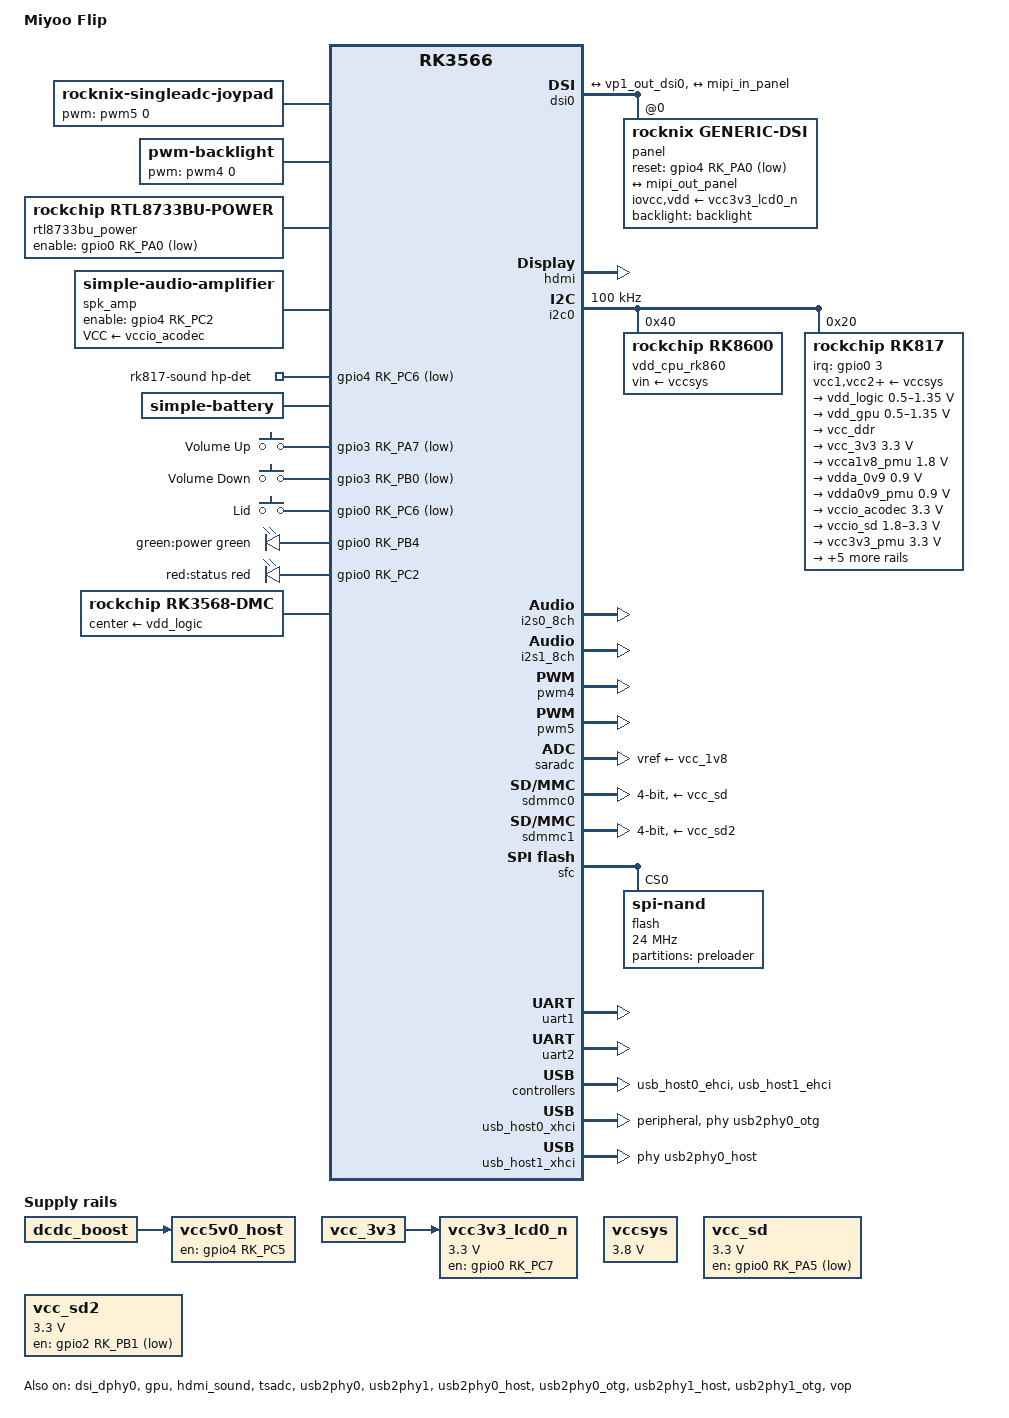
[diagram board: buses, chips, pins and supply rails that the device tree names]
// SPDX-License-Identifier: (GPL-2.0+ OR MIT)
/*
 * Copyright (c) 2020 Rockchip Electronics Co., Ltd.
 * Miyoo Flip (codename miyoo-355) - Mainline Linux device tree
 */
/dts-v1/;

#include <dt-bindings/gpio/gpio.h>
#include <dt-bindings/input/gpio-keys.h>
#include <dt-bindings/leds/common.h>
#include <dt-bindings/pinctrl/rockchip.h>
#include <dt-bindings/pwm/pwm.h>
#include <dt-bindings/input/input.h>
#include <dt-bindings/input/linux-event-codes.h>
#include <dt-bindings/interrupt-controller/arm-gic.h>
#include <dt-bindings/interrupt-controller/irq.h>
#include <dt-bindings/soc/rockchip,vop2.h>
/* #include <dt-bindings/suspend/rockchip-rk3568.h> -- disabled while 1013 patches are out for testing */
#include "rk3566.dtsi"

/ {
	model = "Miyoo Flip";
	chassis-type = "handset";
	compatible = "miyoo,flip", "rockchip,rk3566";

	aliases {
		mmc0 = &sdmmc0; /*Right slot, used for booting*/
		mmc1 = &sdmmc1;
	};

	/* Console and boot: serial2 = UART2 at 1.5M baud (ROCKNIX debug/console). Stock uses ttyFIQ0. */
	chosen: chosen {
		stdout-path = "serial2:1500000n8";
	};

	/*
	 * Persistent kernel crash log. The Flip V2 exposes RAM from 0x00200000
	 * through 0x3fffffff and places its 256 MiB CMA pool at 0x2cc00000.
	 * Reserve the aligned 256 KiB immediately below CMA; the live memory map
	 * confirms that this range has no firmware or device reservation.
	 */
	reserved-memory {
		#address-cells = <2>;
		#size-cells = <2>;
		ranges;

		ramoops@2cbc0000 {
			compatible = "ramoops";
			reg = <0x0 0x2cbc0000 0x0 0x00040000>;
			record-size = <0x00020000>;
			console-size = <0x00010000>;
		};
	};

	/* No adc-keys: volume buttons are on GPIO; saradc ch0 is owned by joypad. */

/* RetroArch joypad button ID reference:
#define RETRO_DEVICE_ID_JOYPAD_B        0
#define RETRO_DEVICE_ID_JOYPAD_Y        1
#define RETRO_DEVICE_ID_JOYPAD_SELECT   2
#define RETRO_DEVICE_ID_JOYPAD_START    3
#define RETRO_DEVICE_ID_JOYPAD_UP       4
#define RETRO_DEVICE_ID_JOYPAD_DOWN     5
#define RETRO_DEVICE_ID_JOYPAD_LEFT     6
#define RETRO_DEVICE_ID_JOYPAD_RIGHT    7
#define RETRO_DEVICE_ID_JOYPAD_A        8
#define RETRO_DEVICE_ID_JOYPAD_X        9
#define RETRO_DEVICE_ID_JOYPAD_L       10
#define RETRO_DEVICE_ID_JOYPAD_R       11
#define RETRO_DEVICE_ID_JOYPAD_L2      12
#define RETRO_DEVICE_ID_JOYPAD_R2      13
#define RETRO_DEVICE_ID_JOYPAD_L3      14
#define RETRO_DEVICE_ID_JOYPAD_R3      15
*/

	/* Gamepad: ROCKNIX rocknix-singleadc-joypad driver. Stock uses gpio-keys-polled with different keycodes.
	 * rocknix,use-miyoo-serial-joypad: analog stick via UART1 (Miyoo serial protocol), not ADC. */
	joypad: rocknix-singleadc-joypad {
		compatible = "rocknix-singleadc-joypad";

		joypad-name = "retrogame_joypad";
		joypad-product = <0x1101>;
		joypad-revision = <0x0100>;
		joypad-vendor = <0x484B>;

		status = "okay";

		/* use miyoo serial instead of adc */
		rocknix,use-miyoo-serial-joypad;

		/* rumble motor */
		pwms = <&pwm5 0 10000000 0>;
		pwm-names = "enable";
		rumble-boost-weak = <0x00>;
		rumble-boost-strong = <0x00>;

		/* gpio pincontrol setup */
		pinctrl-names = "default";
		pinctrl-0 = <&btn_pins_ctrl>;

		/* poll interval (ms). Single value for both GPIO (buttons/dpad) and UART (joystick).
		 * Stock miyoo_inputd.c: joystick ~8.3 ms (16666/2), buttons ~4.2 ms (16666/4).
		 * Use 6 ms for balance of responsiveness and CPU. */
		poll-interval = <6>;

		/* Miyoo serial joystick tuning.  Requires 0002-miyoo-serial patch.
		 * 4914 = ~15% radial deadzone.  Tuning <100 softens axis gain.
		 * Higher fuzz/flat + threshold reduce cross-axis noise in evdev. */
		miyoo-deadzone = <4914>;
		miyoo-fuzz = <48>;
		miyoo-flat = <48>;
		miyoo-threshold = <192>;

		miyoo-lx-p-tuning = <76>;
		miyoo-lx-n-tuning = <76>;
		miyoo-ly-p-tuning = <76>;
		miyoo-ly-n-tuning = <76>;
		miyoo-rx-p-tuning = <76>;
		miyoo-rx-n-tuning = <76>;
		miyoo-ry-p-tuning = <76>;
		miyoo-ry-n-tuning = <76>;

		sw1 {
			gpios = <&gpio3 RK_PA3 GPIO_ACTIVE_LOW>;
			label = "GPIO DPAD-UP";
			linux,code = <BTN_DPAD_UP>;
		};
		sw2 {
			gpios = <&gpio3 RK_PA4 GPIO_ACTIVE_LOW>;
			label = "GPIO DPAD-DOWN";
			linux,code = <BTN_DPAD_DOWN>;
		};
		sw3 {
			gpios = <&gpio3 RK_PA5 GPIO_ACTIVE_LOW>;
			label = "GPIO DPAD-LEFT";
			linux,code = <BTN_DPAD_LEFT>;
		};
		sw4 {
			gpios = <&gpio3 RK_PA6 GPIO_ACTIVE_LOW>;
			label = "GPIO DPAD-RIGHT";
			linux,code = <BTN_DPAD_RIGHT>;
		};
		sw5 {
			gpios = <&gpio3 RK_PC2 GPIO_ACTIVE_LOW>;
			label = "GPIO KEY BTN-A";
			linux,code = <BTN_SOUTH>;
		};
		sw6 {
			gpios = <&gpio3 RK_PC3 GPIO_ACTIVE_LOW>;
			label = "GPIO BTN-B";
			linux,code = <BTN_EAST>;
		};
		sw7 {
			gpios = <&gpio3 RK_PC1 GPIO_ACTIVE_LOW>;
			label = "GPIO BTN-X";
			linux,code = <BTN_NORTH>;
		};
		sw8 {
			gpios = <&gpio3 RK_PC0 GPIO_ACTIVE_LOW>;
			label = "GPIO BTN-Y";
			linux,code = <BTN_WEST>;
		};
		sw9 {
			gpios = <&gpio3 RK_PB6 GPIO_ACTIVE_LOW>;
			label = "GPIO BTN_SELECT";
			linux,code = <BTN_SELECT>;
		};
		sw10 {
			gpios = <&gpio3 RK_PB5 GPIO_ACTIVE_LOW>;
			label = "GPIO BTN_START";
			linux,code = <BTN_START>;
		};
		sw11 {
			gpios = <&gpio3 RK_PA1 GPIO_ACTIVE_LOW>;
			label = "GPIO BTN_F";
			linux,code = <BTN_MODE>;
		};
		sw12 {
			gpios = <&gpio3 RK_PB1 GPIO_ACTIVE_LOW>;
			label = "GPIO BTN_TL";
			linux,code = <BTN_TL>;
		};
		sw13 {
			gpios = <&gpio3 RK_PB3 GPIO_ACTIVE_LOW>;
			label = "GPIO BTN_TR";
			linux,code = <BTN_TR>;
		};
		sw14 {
			gpios = <&gpio3 RK_PB2 GPIO_ACTIVE_LOW>;
			label = "GPIO BTN_TL2";
			linux,code = <BTN_TL2>;
		};
		sw15 {
			gpios = <&gpio3 RK_PB4 GPIO_ACTIVE_LOW>;
			label = "GPIO BTN_TR2";
			linux,code = <BTN_TR2>;
		};
		sw16 {
			gpios = <&gpio2 RK_PC1 GPIO_ACTIVE_HIGH>;
			label = "GPIO BTN_THUMBL";
			linux,code = <BTN_THUMBL>;
		};
		sw17 {
			gpios = <&gpio2 RK_PC0 GPIO_ACTIVE_HIGH>;
			label = "GPIO BTN_THUMBR";
			linux,code = <BTN_THUMBR>;
		};
	};

	/* LCD backlight: PWM4, mainline pwm-backlight.
	 * Stock miyoo355_fw_20250509213001 lcd_frequencies.json offers selectable PWM modes:
	 *   800 Hz  period=1250000 ns  brightness 20-160  (lowest flicker freq, widest range)
	 *   10000 Hz  period=100000 ns  brightness 8-140
	 *   12500 Hz  period=80000 ns   brightness 10-100
	 *   25000 Hz  period=40000 ns   brightness 45-90
	 *   40000 Hz  period=25000 ns   brightness 65-115  (stock default in MainUI)
	 * Brightness index 0 disables the backlight; PWM 2/255 is the
	 * minimum for display to work. PWM 8/255 that reliably latches on cold resume at 800 Hz. */
	backlight: backlight {
		compatible = "pwm-backlight";
		pwms = <&pwm4 0 1250000 0>;
		post-pwm-on-delay-ms = <20>;
		brightness-levels = <
			  0   8   8   8   8   8   8   8
			  8   8   8   8   8   8   8   8
			  8   8   8   8   8   8   8   8
			  8  15  16  17  18  19  20  21
			 22  23  24  25  26  27  28  29
			 30  31  32  33  34  35  36  37
			 38  39  40  41  42  43  44  46
			 47  48  49  50  52  53  54  55
			 56  57  58  59  60  61  62  63
			 64  65  66  67  68  69  70  71
			 72  73  74  75  76  77  78  79
			 80  81  82  83  84  85  86  87
			 88  89  90  91  92  93  94  95
			 96  97  98  99 100 101 102 103
			104 105 106 107 108 109 110 111
			112 113 114 115 116 117 118 119
			120 121 122 123 124 125 126 127
			128 129 130 131 132 133 134 135
			136 137 138 139 140 141 142 143
			144 145 146 147 148 149 150 151
			152 153 154 155 156 157 158 159
			160 161 162 163 164 165 166 167
			168 169 170 171 172 173 174 175
			176 177 178 179 180 181 182 183
			184 185 186 187 188 189 190 191
			192 193 194 195 196 197 198 199
			200 201 202 203 204 205 206 207
			208 209 210 211 212 213 214 215
			216 217 218 219 220 221 222 223
			224 225 226 227 228 229 230 231
			232 233 234 235 236 237 238 239
			240 241 242 243 244 245 246 247
			248 249 250 251 252 253 254 255
		>;
		default-brightness-level = <120>;
	};

	/* WiFi/BT power control: RTL8733BU combo chip, USB-attached.
	 * We use the rtl8733bu-power platform driver (see node below) instead of
	 * a regulator-fixed so that power can be cut when WiFi (and BT) are off
	 * via rfkill.  That gives full hardware off and maximum battery saving,
	 * matching stock BSP behaviour.  The regulator approach required
	 * regulator-always-on to avoid the framework disabling the rail and
	 * breaking suspend; with rtl8733bu-power, the driver owns the GPIO and
	 * only cuts power on rfkill block.
	 *
	 * Original regulator node (commented out):
	 * vcc_wifi: vcc-wifi {
	 *	compatible = "regulator-fixed";
	 *	regulator-name = "vcc_wifi";
	 *	regulator-min-microvolt = <3300000>;
	 *	regulator-max-microvolt = <3300000>;
	 *	enable-active-low;
	 *	gpio = <&gpio0 RK_PA0 GPIO_ACTIVE_LOW>;
	 *	pinctrl-names = "default";
	 *	pinctrl-0 = <&wifi_enable_h>;
	 *	regulator-boot-on;
	 *	regulator-always-on;
	 * };
	 */
	rtl8733bu_power: rtl8733bu-power {
		compatible = "rockchip,rtl8733bu-power";
		enable-gpios = <&gpio0 RK_PA0 GPIO_ACTIVE_LOW>;
		pinctrl-names = "default";
		pinctrl-0 = <&wifi_enable_h>;
	};

	/* Speaker amplifier enable: GPIO4_PC2 (same pin as BSP spk-ctl-gpios).
	 * In mainline, use simple-audio-amplifier + aux-devs instead of BSP codec driver GPIO.
	 * VCC-supply powers the amp; vccio_acodec (3.3V) is the audio codec IO supply. */
	spk_amp: audio-amplifier {
		compatible = "simple-audio-amplifier";
		VCC-supply = <&vccio_acodec>;
		enable-gpios = <&gpio4 RK_PC2 GPIO_ACTIVE_HIGH>;
		pinctrl-names = "default";
		pinctrl-0 = <&spk_amp_enable_h>;
		sound-name-prefix = "Speaker Amp";
	};

	/* Audio: simple-audio-card (mainline). CPU = I2S1_8ch, codec = RK817. Stock uses BSP rk817-codec + spk-ctl-gpios. */
	rk817-sound {
		compatible = "simple-audio-card";
		pinctrl-0 = <&hp_det>;
		pinctrl-names = "default";
		simple-audio-card,name = "rk817_ext";
		simple-audio-card,format = "i2s";
		simple-audio-card,hp-det-gpios = <&gpio4 RK_PC6 GPIO_ACTIVE_LOW>;
		simple-audio-card,aux-devs = <&spk_amp>;
		simple-audio-card,mclk-fs = <256>;
		simple-audio-card,widgets =
			"Microphone", "Mic Jack",
			"Headphone", "Headphones",
			"Speaker", "Internal Speakers";
		simple-audio-card,routing =
			"MICL", "Mic Jack",
			"Headphones", "HPOL",
			"Headphones", "HPOR",
			"Speaker Amp INL", "SPKO",
			"Speaker Amp INR", "SPKO",
			"Internal Speakers", "Speaker Amp OUTL",
			"Internal Speakers", "Speaker Amp OUTR";

		simple-audio-card,cpu {
			sound-dai = <&i2s1_8ch>;
		};
		simple-audio-card,codec {
			sound-dai = <&rk817>;
		};
	};

	/*
	 * simple-battery: 3 Ah Li-ion. OCV 3.2–4.25 V, CC 4.25 V / 1.5 A max.
	 * OCV curve from 2025 firmware (miyoo355_fw_20250509213001) — 4.25 V = 100%,
	 * 3.2 V = 0%, 20 points 4057–3426 mV in between (22 points). Table MUST be
	 * descending (power_supply_ocv2cap_simple requires it). Sleep enter 150 mA
	 * (charger node).
	 */
	battery: battery {
		compatible = "simple-battery";
		charge-full-design-microamp-hours = <3000000>;
		/* rk817_charger: CHRG_TERM_ANA_SEL 0x00 = 150 mA (gentlest). Softer
		 * end-of-charge than 300 mA (0x02); CV lasts longer so coulomb counter
		 * tracks better before CHARGE_FINISH — helps degraded / smaller cells. */
		charge-term-current-microamp = <150000>;
		/* rk817: discrete CC 0.5–3.5 A; 1.8 A not a valid step → use 1.5 A. */
		constant-charge-current-max-microamp = <1500000>;
		constant-charge-voltage-max-microvolt = <4250000>;
		factory-internal-resistance-micro-ohms = <100000>;
		voltage-max-design-microvolt = <4250000>;
		voltage-min-design-microvolt = <3200000>;

		ocv-capacity-celsius = <20>;
		ocv-capacity-table-0 =
			<4250000 100>, <4057000 95>,  <3998000 90>,  <3967000 85>,  <3930000 80>,
			<3883000 75>,  <3849000 70>,  <3816000 65>,  <3773000 60>,  <3722000 55>,
			<3676000 50>,  <3638000 45>,  <3609000 40>,  <3587000 35>,  <3566000 30>,
			<3547000 25>,  <3525000 20>,  <3500000 15>,  <3469000 10>,  <3426000 5>,
			<3200000 0>;
	};

	/* Volume keys (GPIO). Stock has them in gpio-keys-polled. */
	gpio_keys_volume: gpio-keys-volume {
		compatible = "gpio-keys";
		pinctrl-0 = <&btn_pins_vol>;
		pinctrl-names = "default";

		button-volup {
			autorepeat;
			debounce-interval = <10>;
			gpios = <&gpio3 RK_PA7 GPIO_ACTIVE_LOW>;
			label = "Volume Up";
			linux,code = <KEY_VOLUMEUP>;
		};

		button-voldown {
			autorepeat;
			debounce-interval = <10>;
			gpios = <&gpio3 RK_PB0 GPIO_ACTIVE_LOW>;
			label = "Volume Down";
			linux,code = <KEY_VOLUMEDOWN>;
		};
	};

	/* Lid (hall sensor). Wake on lid OPEN only; closing must not wake. */
	gpio_keys_hall: gpio-keys-hall {
		compatible = "gpio-keys";
		pinctrl-0 = <&hall_int_l>;
		pinctrl-names = "default";

		lid-switch {
			gpios = <&gpio0 RK_PC6 GPIO_ACTIVE_LOW>;
			label = "Lid";
			linux,code = <SW_LID>;
			linux,input-type = <EV_SW>;
			wakeup-event-action = <EV_ACT_DEASSERTED>;
			wakeup-source;
			debounce-interval = <20>;
		};
	};

	/* Status LEDs: green on GPIO0_PB4; status/charging on GPIO0_PC2 (one GPIO, one sysfs LED).
	 * Do not register a second DT node on PC2 (duplicate gpios break gpio-leds probe) and do not
	 * bind battery-charging trigger here — ROCKNIX uses ledcontrol + powerstate for charging color.
	 * Device ledcontrol matches quirks/platforms/RK3566 (charging uses red); menu "amber"
	 * maps to this same GPIO since there is no separate amber:charging sysfs entry. */
	leds: leds {
		compatible = "gpio-leds";
		work_led: led-power {
			label = "green:power";
			color = <LED_COLOR_ID_GREEN>;
			function = LED_FUNCTION_POWER;
			gpios = <&gpio0 RK_PB4 GPIO_ACTIVE_HIGH>;
		};
		status_led: led-status {
			label = "red:status";
			color = <LED_COLOR_ID_RED>;
			function = LED_FUNCTION_STATUS;
			gpios = <&gpio0 RK_PC2 GPIO_ACTIVE_HIGH>;
		};
	};

	/* Main system 3.8 V rail (always-on). Input to PMIC and RK8600; from battery/charger. */
	vccsys: vccsys {
		compatible = "regulator-fixed";
		regulator-name = "vcc3v8_sys";
		regulator-always-on;
		regulator-boot-on;
		regulator-min-microvolt = <3800000>;
		regulator-max-microvolt = <3800000>;
	};

	/* vcc5v0_usb: removed — was an intermediate always-on 5V regulator
	 * between dcdc_boost and vcc5v0_host. Unnecessary on this board;
	 * vcc5v0_host now sources directly from dcdc_boost. */

	/* USB host 5V power: GPIO-controlled via GPIO4_PC5.
	 * Removed always-on/boot-on so this rail powers off during suspend.
	 * vin-supply changed from vcc5v0_usb to dcdc_boost (direct path). */
	vcc5v0_host: vcc5v0-host-regulator {
		compatible = "regulator-fixed";
		regulator-name = "vcc5v0_host";
		enable-active-high;
		gpio = <&gpio4 RK_PC5 GPIO_ACTIVE_HIGH>;	/*USB_HOST_PWREN2_H*/
		vin-supply = <&dcdc_boost>;
		pinctrl-names = "default";
		pinctrl-0 = <&vcc5v0_host_en>;
		regulator-state-mem {
			regulator-off-in-suspend;
		};
	};
	
	/* LCD panel 3.3V power: GPIO-controlled via GPIO0_PC7.
	 * The panel driver requests this regulator on demand via iovcc/vdd supply.
	 * Not always-on so it powers off during suspend. */
	vcc3v3_lcd0_n: vcc3v3-lcd0-n {
		compatible = "regulator-fixed";
		regulator-name = "vcc3v3_lcd0_n";
		regulator-min-microvolt = <3300000>;
		regulator-max-microvolt = <3300000>;
		enable-active-high;
		gpio = <&gpio0 RK_PC7 GPIO_ACTIVE_HIGH>;	/*LCD_PWREN_H*/
		vin-supply = <&vcc_3v3>;

		regulator-state-mem {
			regulator-off-in-suspend;
		};
	};
	
	/* SD power: no regulator-state-mem off — system boots from SD; second slot may have running game, powering off in suspend can break resume. */
	vcc_sd: vcc-sd {
		compatible = "regulator-fixed";
		enable-active-low;
		enable-gpios = <&gpio0 RK_PA5 GPIO_ACTIVE_LOW>;	/*SDMMC_PWREN_L*/
		regulator-min-microvolt = <3300000>;
		regulator-max-microvolt = <3300000>;
		pinctrl-names = "default";
		pinctrl-0 = <&vcc_sd_h>;
		regulator-name = "vcc_sd";
	};

	/* Second SD slot (sdmmc1) 3.3 V power. GPIO2_PB1 enable (active-low). */
	vcc_sd2: vcc-sd2 {
		compatible = "regulator-fixed";
		enable-active-low;
		enable-gpios = <&gpio2 RK_PB1 GPIO_ACTIVE_LOW>;	/*SDMMC1_PWREN_L*/
		regulator-min-microvolt = <3300000>;
		regulator-max-microvolt = <3300000>;
		pinctrl-names = "default";
		pinctrl-0 = <&vcc_sd2_h>;
		regulator-name = "vcc_sd2";
	};

	/*
	 * BL31 deep-sleep configuration (patch 1013).  Sends sleep-mode-config
	 * and wakeup-config to BL31 via SIP_SUSPEND_MODE SMC at probe and
	 * before each suspend.  SLPPIN register writes are handled separately
	 * by vanilla rk8xx-core (SLPPIN_SLP_FUN on suspend, NULL_FUN on resume).
	 * Currently disabled.
	 */
	/*
	rk3568-suspend {
		compatible = "rockchip,rk3568-suspend";
		status = "okay";
		// Set sleep-debug-en to 1 + no_console_suspend in cmdline for serial across suspend
		rockchip,sleep-debug-en = <0>;
		rockchip,sleep-mode-config = <
			(0
			| RKPM_SLP_CENTER_OFF
			| RKPM_SLP_ARMOFF_LOGOFF
			| RKPM_SLP_PMIC_LP
			| RKPM_SLP_HW_PLLS_OFF
			| RKPM_SLP_PMUALIVE_32K
			| RKPM_SLP_OSC_DIS
			| RKPM_SLP_32K_PVTM
			)
		>;
		rockchip,wakeup-config = <
			(0
			| RKPM_GPIO_WKUP_EN
			)
		>;
	};
	*/

	/* DMC devfreq: DDR frequency scaling via ATF SIP. DFI provides load; governor scales 324–1056 MHz. Stock uses same SIP. */
	dmc: dmc {
		compatible = "rockchip,rk3568-dmc";
		interrupts = <GIC_SPI 10 IRQ_TYPE_LEVEL_HIGH>;
		interrupt-names = "complete";
		devfreq-events = <&dfi>;
		center-supply = <&vdd_logic>;
		clocks = <&scmi_clk 3>;
		clock-names = "dmc_clk";
		operating-points-v2 = <&dmc_opp_table>;
		status = "okay";
	};

	/* DMC OPPs: 324/528/780/1056 MHz, all at 900 mV. Match U-Boot/BL31 fsp_param and stock. */
	dmc_opp_table: dmc-opp-table {
		compatible = "operating-points-v2";

		opp-324000000 {
			opp-hz = /bits/ 64 <324000000>;
			opp-microvolt = <900000>;
		};
		opp-528000000 {
			opp-hz = /bits/ 64 <528000000>;
			opp-microvolt = <900000>;
		};
		opp-780000000 {
			opp-hz = /bits/ 64 <780000000>;
			opp-microvolt = <900000>;
		};
		opp-1056000000 {
			opp-hz = /bits/ 64 <1056000000>;
			opp-microvolt = <900000>;
		};
	};
};

/* CPU cores: supply from RK8600 (vdd_cpu). All four Cortex-A55. */
&cpu0 {
	cpu-supply = <&vdd_cpu_rk860>;
};

&cpu1 {
	cpu-supply = <&vdd_cpu_rk860>;
};

&cpu2 {
	cpu-supply = <&vdd_cpu_rk860>;
};

&cpu3 {
	cpu-supply = <&vdd_cpu_rk860>;
};

/* OPP clock-latency: cpufreq transition_latency. 300 ms avoids I2C storm (DVFS via PMIC on I2C).
 * schedutil uses it for rate_limit_us; ondemand still needs 300 ms sampling_rate in profile.d.
 */
&cpu0_opp_table {
	opp-408000000 {
		clock-latency-ns = <300000000>;
	};
};

/* CRU: clock rates for RTC 32K, GPLL 1.2 GHz, PPLL 200 MHz, VPLL 1.2 GHz. */
&cru {
	assigned-clocks = <&pmucru CLK_RTC_32K>, <&cru PLL_GPLL>,
			  <&pmucru PLL_PPLL>, <&cru PLL_VPLL>;
	assigned-clock-rates = <32768>, <1200000000>,
			       <200000000>, <1200000000>;
};

/* DSI host: VP1 -> DSI0 -> panel. Panel is rocknix,generic-dsi (MIPI DSI, init seq from BSP). */
&dsi0 {
	status = "okay";
	#address-cells = <1>;
	#size-cells = <0>;

	ports {
		dsi0_in: port@0 {
			reg = <0>;
			dsi0_in_vp1: endpoint {
				remote-endpoint = <&vp1_out_dsi0>;
			};
		};

		dsi0_out: port@1 {
			reg = <1>;
			mipi_out_panel: endpoint {
				remote-endpoint = <&mipi_in_panel>;
			};
		};
	};

	/* Panel: FT8006M (controller IC), 3.5" 640x480 MIPI DSI 2-lane RGB888. Physical panel likely
	 * TXW350099C0-12 or similar (3.5" 640x480 TFT IPS MIPI); no public datasheet
	 * for FT8006M. Default = NTSC 525 lines; stock BSP = 518 lines, same rate.
	 * Backlight 800 Hz; stock "display mode" is userspace (DRM hue/sat, backlight). */
	panel: panel@0 {
		compatible = "rocknix,generic-dsi";
		/* flags=0xa03 matches stock 2025 DTB; use 0xe03 if you need VIDEO_HSE */
		panel_description =
			"G size=68,121 delays=0,160,200,200,20 format=rgb888 lanes=2 flags=0xa03",

			"M clock=32000 horizontal=640,150,120,120 vertical=480,20,6,12 default=1", /* stock BSP ~59.94 Hz 518 lines */
			"M clock=30900 horizontal=640,150,120,120 vertical=480,20,88,12",         /* PAL: 600 lines, 50 Hz; same H as stock (1030) to reduce flicker */
			"M clock=21408 horizontal=640,150,120,120 vertical=480,20,6,14",         /* 40 Hz (21408/1030/520), test */

			"I seq=11 wait=250",
			"I seq=29 wait=32",
			"I seq=b9f11287",
			"I seq=b2780470",
			"I seq=b31010282803ff00000000",
			"I seq=b480",
			"I seq=b50a0a",
			"I seq=b82622f013",
			"I seq=ba318105f90e0e2000000000000000442500910a0000014f01000037",
			"I seq=bc47",
			"I seq=bf0211008004",
			"I seq=c0737350500000127300",
			"I seq=c17300323277f47777ccccffff1111000032",
			"I seq=c710000a0000000000edc500a5",
			"I seq=c810401e03",
			"I seq=cc0b",
			"I seq=e0000509293c3f3b37050a0c10131013121a000509293c3f3b37050a0c10131013121a",
			"I seq=e111119100000000",
			"I seq=e307070b0b0b0b00000000ff04c010",
			"I seq=e9c810020000b0b11131232880b0b127080004020000000004020000008888ba60240888888888888888ba713518888888888800000001000000000000000000",
			"I seq=ea970a820203070000000000008188ba17538888888888888088ba064288888888888823000002a500000000000000000000000000000000000000000000",
			"I seq=a500",   /* stock 2025: explicit DCS 0xa5 0x00 before EF */
			"I seq=efffff01";
		reg = <0>;
		pinctrl-names = "default";
		pinctrl-0 = <&lcd_rst>;
		reset-gpios = <&gpio4 RK_PA0 GPIO_ACTIVE_LOW>;
		backlight = <&backlight>;
		iovcc-supply = <&vcc3v3_lcd0_n>;
		vdd-supply = <&vcc3v3_lcd0_n>;

		port {
			mipi_in_panel: endpoint {
				remote-endpoint = <&mipi_out_panel>;
			};
		};
	};
};

/* Display pipeline: VP1 -> DSI0 -> panel (MIPI DSI).
 * DPHY0 is required for the DSI link; DPHY1 is unused. */
&dsi_dphy0 {
	status = "okay";
};

&dsi_dphy1 {
	status = "disabled";
};

/* VOP2 VP1: output to DSI0 (MIPI). Primary display path for LCD. */
&vp1 {
	vp1_out_dsi0: endpoint@ROCKCHIP_VOP2_EP_MIPI0 {
		reg = <ROCKCHIP_VOP2_EP_MIPI0>;
		remote-endpoint = <&dsi0_in_vp1>;
	};
};

/* VOP2 -> HDMI pipeline (for HDMI-capable boards or display-subsystem compatibility). */
&hdmi_in {
	hdmi_in_vp0: endpoint {
		remote-endpoint = <&vp0_out_hdmi>;
	};
};

&vp0 {
	vp0_out_hdmi: endpoint@ROCKCHIP_VOP2_EP_HDMI0 {
		reg = <ROCKCHIP_VOP2_EP_HDMI0>;
		remote-endpoint = <&hdmi_in_vp0>;
	};
};

/* GPU: Mali G52 (Panfrost/kbase). mali-supply is the GPU voltage rail. */
&gpu {
	mali-supply = <&vdd_gpu>;
	status = "okay";
};

/* HDMI: enabled for display-subsystem; Phy table for common pixel clocks. */
&hdmi {
	status = "okay";
	avdd-0v9-supply = <&vdda_0v9>;
	avdd-1v8-supply = <&vcc_1v8>;
	rockchip,phy-table =
		<92812500  0x8009 0x0000 0x0270>,
		<165000000 0x800b 0x0000 0x026d>,
		<185625000 0x800b 0x0000 0x01ed>,
		<297000000 0x800b 0x0000 0x01ad>,
		<594000000 0x8029 0x0000 0x0088>,
		<000000000 0x0000 0x0000 0x0000>;
};

/* HDMI sound (unused when no HDMI cable). */
&hdmi_sound {
	status = "okay";
};

/* I2C0: RK817 PMIC @0x20 and RK8600 CPU regulator @0x40. 100 kHz for power. */
&i2c0 {
	status = "okay";
	clock-frequency = <100000>;

    /* CPU rail, RK8600 variant @0x40. fan53555 driver probes this (RK8600 shares code). Must set fcs,suspend-voltage-selector
     * so driver uses correct VSEL; wrong value can drop CPU rail and hang right after "FAN53555 Detected!". */
    vdd_cpu_rk860: rk8600@40 {
        compatible = "rockchip,rk8600";
        reg = <0x40>;
        vin-supply = <&vccsys>;
        regulator-compatible = "rk860x-reg";
        regulator-name = "vdd_cpu";
        regulator-min-microvolt = <712500>;
        regulator-max-microvolt = <1390000>;
        regulator-init-microvolt = <900000>;
        regulator-ramp-delay = <2300>;
        fcs,suspend-voltage-selector = <1>;  /* driver only reads this property name; <1> = safe for RK3566 */
        regulator-boot-on;
        regulator-always-on;
        status = "okay";
        regulator-state-mem {
            regulator-off-in-suspend;
        };
    };

	/*
	 * RK817 PMIC @0x20: regulators, charger, codec, RTC.
	 *
	 * Power-off: system-power-controller enables DEV_OFF — a direct I2C
	 * register write that commands the PMIC to shut down.
	 *
	 * Suspend: pmic_pins in pinctrl-0 muxes GPIO0_PA2 to PMU_SLEEP
	 * (function 1) so the SoC PMU hardware can drive it during deep sleep.
	 * Vanilla rk8xx-core writes SLPPIN_SLP_FUN to the PMIC so it enters
	 * low-power mode (regulator-state-mem) when PMU_SLEEP goes active.
	 * pmic_pins is defined in rk3568-pinctrl.dtsi (shared).
	 */
	rk817: pmic@20 {
		status = "okay";
		compatible = "rockchip,rk817";
		reg = <0x20>;
		interrupt-parent = <&gpio0>;
		interrupts = <3 IRQ_TYPE_LEVEL_LOW>;

		pinctrl-names = "default";
		pinctrl-0 = <&pmic_int_l>, <&i2s1m0_mclk>, <&pmic_pins>;
		system-power-controller;
		wakeup-source;
		#clock-cells = <1>;
		#sound-dai-cells = <0>;
		clock-output-names = "rk808-clkout1", "rk808-clkout2";
		clock-names = "mclk";
		clocks = <&cru I2S1_MCLKOUT_TX>;
		assigned-clocks = <&cru I2S1_MCLKOUT_TX>;
		assigned-clock-parents = <&cru CLK_I2S1_8CH_TX>;
		assigned-clock-rates = <12288000>;

		vcc1-supply = <&vccsys>;
		vcc2-supply = <&vccsys>;
		vcc3-supply = <&vccsys>;
		vcc4-supply = <&vccsys>;
		vcc5-supply = <&vccsys>;
		vcc6-supply = <&vccsys>;
		vcc7-supply = <&vccsys>;
		vcc8-supply = <&vccsys>;
		/* vcc9 is the input supply for the PMIC BOOST block (LDO9/5V). It must be
		 * vccsys (3.8V system rail), not dcdc_boost, to avoid fw_devlink dependency
		 * cycle pmic -> BOOST -> pmic on mainline 6.6+. */
		vcc9-supply = <&vccsys>;

		pwrkey {
			status = "okay";
		};

		/* Regulators: DCDC1–4, LDO1–9, BOOST. Suspend state per rail (logic/gpu/ddr off, PMU/always-on on). */
		regulators {
			vdd_logic: DCDC_REG1 {
				regulator-always-on;
				regulator-boot-on;
				regulator-min-microvolt = <500000>;
				regulator-max-microvolt = <1350000>;
				regulator-init-microvolt = <900000>;
				regulator-ramp-delay = <6001>;
				regulator-initial-mode = <0x2>;
				regulator-name = "vdd_logic";
				/*
				 * Without the rk3568-suspend driver (1013 patches),
				 * vdd_logic must stay on — BL31 defaults don't
				 * expect ARMOFF_LOGOFF and can't restore the logic
				 * domain.  Re-enable off-in-suspend when the 1013
				 * patches are active again.
				 */
				regulator-state-mem {
					regulator-on-in-suspend;
				};
			};

			/* GPU: mali-bifrost uses devicetree platform backend, which delegates
			 * clock/regulator lifecycle to the kernel power domain framework. */
			vdd_gpu: DCDC_REG2 {
				regulator-always-on;
				regulator-boot-on;
				regulator-min-microvolt = <500000>;
				regulator-max-microvolt = <1350000>;
				regulator-init-microvolt = <900000>;
				regulator-ramp-delay = <6001>;
				regulator-initial-mode = <0x2>;
				regulator-name = "vdd_gpu";
				regulator-state-mem {
					regulator-off-in-suspend;
				};
			};

			vcc_ddr: DCDC_REG3 {
				regulator-always-on;
				regulator-boot-on;
				regulator-initial-mode = <0x2>;
				regulator-name = "vcc_ddr";
				regulator-state-mem {
					regulator-on-in-suspend;
				};
			};

			vcc_3v3: DCDC_REG4 {
				regulator-always-on;
				regulator-boot-on;
				regulator-min-microvolt = <3300000>;
				regulator-max-microvolt = <3300000>;
				regulator-initial-mode = <0x2>;
				regulator-name = "vcc_3v3";
				/* off-in-suspend: powers off the main 3.3V rail during
				 * deep sleep for maximum battery savings. Confirmed
				 * working — TF-A restores the rail on resume. */
				regulator-state-mem {
					regulator-off-in-suspend;
					regulator-suspend-microvolt = <3300000>;
				};
			};

			vcca1v8_pmu: LDO_REG1 {
				regulator-always-on;
				regulator-boot-on;
				regulator-min-microvolt = <1800000>;
				regulator-max-microvolt = <1800000>;
				regulator-name = "vcca1v8_pmu";
				regulator-state-mem {
					regulator-on-in-suspend;
					regulator-suspend-microvolt = <1800000>;
				};
			};

			vdda_0v9: LDO_REG2 {
				regulator-always-on;
				regulator-boot-on;
				regulator-min-microvolt = <900000>;
				regulator-max-microvolt = <900000>;
				regulator-name = "vdda_0v9";
				regulator-state-mem {
					regulator-off-in-suspend;
				};
			};

			vdda0v9_pmu: LDO_REG3 {
				regulator-always-on;
				regulator-boot-on;
				regulator-min-microvolt = <900000>;
				regulator-max-microvolt = <900000>;
				regulator-name = "vdda0v9_pmu";
				regulator-state-mem {
					regulator-on-in-suspend;
					regulator-suspend-microvolt = <900000>;
				};
			};

			vccio_acodec: LDO_REG4 {
				regulator-always-on;
				regulator-boot-on;
				regulator-min-microvolt = <3300000>;
				regulator-max-microvolt = <3300000>;
				regulator-name = "vccio_acodec";
				regulator-state-mem {
					regulator-off-in-suspend;
				};
			};

			vccio_sd: LDO_REG5 {
				regulator-always-on;
				regulator-boot-on;
				regulator-min-microvolt = <1800000>;
				regulator-max-microvolt = <3300000>;
				regulator-name = "vccio_sd";
				regulator-state-mem {
					regulator-on-in-suspend;
					regulator-suspend-microvolt = <3300000>;
				};
			};

			vcc3v3_pmu: LDO_REG6 {
				regulator-always-on;
				regulator-boot-on;
				regulator-min-microvolt = <3300000>;
				regulator-max-microvolt = <3300000>;
				regulator-name = "vcc3v3_pmu";
				regulator-state-mem {
					regulator-on-in-suspend;
					regulator-suspend-microvolt = <3300000>;
				};
			};

			vcc_1v8: LDO_REG7 {
				regulator-always-on;
				regulator-boot-on;
				regulator-min-microvolt = <1800000>;
				regulator-max-microvolt = <1800000>;
				regulator-name = "vcc_1v8";
				regulator-state-mem {
					regulator-off-in-suspend;
				};
			};

			/* miyoo355_fw_20250509 sets regulator-always-on and regulator-boot-on on LDO_REG8 and LDO_REG9 */
			vcc1v8_dvp: LDO_REG8 {
				regulator-min-microvolt = <1800000>;
				regulator-max-microvolt = <1800000>;
				regulator-name = "vcc1v8_dvp";
				regulator-state-mem {
					regulator-off-in-suspend;
				};
			};

			vcc2v8_dvp: LDO_REG9 {
				regulator-min-microvolt = <2800000>;
				regulator-max-microvolt = <2800000>;
				regulator-name = "vcc2v8_dvp";
				regulator-state-mem {
					regulator-off-in-suspend;
				};
			};

			dcdc_boost: BOOST {
				/* Not always-on: BOOST (5V step-up for USB host power)
				 * must be allowed to power off during suspend. */
				regulator-min-microvolt = <5000000>;
				regulator-max-microvolt = <5000000>;
				regulator-name = "boost";
				regulator-state-mem {
					regulator-off-in-suspend;
				};
			};

		/* OTG_SWITCH: RK817 OTG 5V output. Not the upper USB-C VBUS. */
		otg_switch: OTG_SWITCH {
			regulator-name = "otg_switch";
			regulator-state-mem {
				regulator-off-in-suspend;
			};
		};
		};

		rk817_charger: charger {
			monitored-battery = <&battery>;
			rockchip,resistor-sense-micro-ohms = <10000>;
			rockchip,sleep-enter-current-microamp = <150000>;
			rockchip,sleep-filter-current-microamp = <100000>;
			/* Match stock: disable OTG 5V in suspend for lower power consumption */
			rockchip,otg5v-suspend-enable = <0>;
		};

		/*
		 * Mainline rk817-codec driver reads DT properties from
		 * of_get_child_by_name(dev->parent->of_node, "codec").
		 * No compatible needed; MFD cell matches by platform name.
		 * Clocks/pinctrl come from the PMIC parent node above.
		 */
		codec {
		};
	};
};

/* I2S0_8ch (fe400000.i2s): used by HDMI sound card (card 0). rk817-sound uses I2S1_8ch (card 1). */
&i2s0_8ch {
	status = "okay";
};

/* I2S1: used by rk817-sound (codec). BSP used rockchip,clk-trcm = <1>; mainline = rockchip,trcm-sync-tx-only. */
&i2s1_8ch {
	status = "okay";
	/* BSP used rockchip,clk-trcm = <1>; mainline property name is different */
	rockchip,trcm-sync-tx-only;
	pinctrl-names = "default";
	pinctrl-0 = <&i2s1m0_sclktx
		     &i2s1m0_lrcktx
		     &i2s1m0_sdi0
		     &i2s1m0_sdo0>;
};

/* Pinctrl: board-specific pin mux and pull. Groups for buttons, volume, lid, WiFi, PMIC, LCD, SD, USB. */
&pinctrl {
	/* Button and control GPIOs: joypad (dpad, A/B/X/Y, select/start, L/R, mode), pull-up/down per BSP. */
	gpio-control {
		btn_pins_ctrl: btn-pins-ctrl {
			rockchip,pins =
				<2 RK_PC0 RK_FUNC_GPIO &pcfg_pull_down>,
				<2 RK_PC1 RK_FUNC_GPIO &pcfg_pull_down>,
				<3 RK_PA1 RK_FUNC_GPIO &pcfg_pull_up>,
				<3 RK_PA3 RK_FUNC_GPIO &pcfg_pull_up>,
				<3 RK_PA4 RK_FUNC_GPIO &pcfg_pull_up>,
				<3 RK_PA5 RK_FUNC_GPIO &pcfg_pull_up>,
				<3 RK_PA6 RK_FUNC_GPIO &pcfg_pull_up>,
				<3 RK_PB1 RK_FUNC_GPIO &pcfg_pull_up>,
				<3 RK_PB2 RK_FUNC_GPIO &pcfg_pull_up>,
				<3 RK_PB3 RK_FUNC_GPIO &pcfg_pull_up>,
				<3 RK_PB4 RK_FUNC_GPIO &pcfg_pull_up>,
				<3 RK_PB5 RK_FUNC_GPIO &pcfg_pull_up>,
				<3 RK_PB6 RK_FUNC_GPIO &pcfg_pull_up>,
				<3 RK_PC0 RK_FUNC_GPIO &pcfg_pull_up>,
				<3 RK_PC1 RK_FUNC_GPIO &pcfg_pull_up>,
				<3 RK_PC2 RK_FUNC_GPIO &pcfg_pull_up>,
				<3 RK_PC3 RK_FUNC_GPIO &pcfg_pull_up>;
		};

		btn_pins_vol: btn-pins-vol {
			rockchip,pins =
				<3 RK_PA7 RK_FUNC_GPIO &pcfg_pull_up>,
				<3 RK_PB0 RK_FUNC_GPIO &pcfg_pull_up>;
		};
	};

	/* Speaker amp enable (GPIO4_PC2). Pad _d per datasheet → pull_down = amp off when not driven. */
	audio-amplifier {
		spk_amp_enable_h: spk-amp-enable-h {
			rockchip,pins =
				<4 RK_PC2 RK_FUNC_GPIO &pcfg_pull_down>;
		};
	};

	/* Headphone jack detect (GPIO4_PC6). */
	headphone {
		hp_det: hp-det {
			rockchip,pins = <4 RK_PC6 RK_FUNC_GPIO &pcfg_pull_up>;
		};
	};

	/* LCD panel reset (GPIO4_PA0). */
	gpio-lcd {
		lcd_rst: lcd-rst {
			rockchip,pins =
				<4 RK_PA0 RK_FUNC_GPIO &pcfg_pull_none>;
		};
	};

	/* Lid/hall sensor (GPIO0_PC6). SW_LID for gpio_keys_hall. */
	hall-sensor {
		hall_int_l: hall-int-l {
			rockchip,pins = <0 RK_PC6 RK_FUNC_GPIO &pcfg_pull_up>;
		};
	};

	/* WiFi power enable (GPIO0_PA0). Active-low: pull_up = disabled when not driven. */
	wireless-wlan {
		wifi_enable_h: wifi-enable-h {
			rockchip,pins =
				<0 RK_PA0 RK_FUNC_GPIO &pcfg_pull_up>;
		};
	};

	pmic {
		pmic_int_l: pmic-int-l {
			rockchip,pins =
				<0 RK_PA3 RK_FUNC_GPIO &pcfg_pull_up>;
		};

	};

	/* USB host 5V enable (GPIO4_PC5). Stock 2025 uses pull_none (0x100); we use pull_down so 5V is off when not driven. */
	usb {
		vcc5v0_host_en: vcc5v0-host-en {
			rockchip,pins = <4 RK_PC5 RK_FUNC_GPIO &pcfg_pull_down>;
		};

	};

	/* SD slot 0/1 power enable (active-low). Stock 2025 uses pcfg 0x109 for both; we use pull_down for safe default when not driven. */
	vcc-sd {
		vcc_sd_h: vcc-sd-h {
			rockchip,pins = <0 RK_PA5 RK_FUNC_GPIO &pcfg_pull_down>;
		};
		vcc_sd2_h: vcc-sd2-h {
			rockchip,pins = <2 RK_PB1 RK_FUNC_GPIO &pcfg_pull_down>;
		};
	};

};

/* IEP (Image Enhancement Processor): hardware deinterlacer/scaler at 0xfdef0000.
 * The BSP uses "rockchip,iep-v2" which requires the proprietary MPP (Media Process
 * Platform) framework — a large set of BSP-only drivers (mpp_service, mpp_dev, etc.)
 * that have no mainline equivalent and cannot be ported as a simple out-of-tree module.
 * IEP shares PD_RGA power domain with RGA (which IS probed), so its power domain
 * is already managed — no battery penalty from leaving it disabled.
 * For retro gaming, IEP's deinterlacing is rarely useful (emulators output progressive).
 *
 * jpegd, jpegd_mmu, mpp_srv, nandc0: also BSP-only, not in mainline rk356x. */
 /*
  * There are 10 independent IO domains in RK3566/RK3568, including PMUIO[0:2] and VCCIO[1:7].
  * 1/ PMUIO0 and PMUIO1 are fixed-level power domains which cannot be configured;
  * 2/ PMUIO2 and VCCIO1,VCCIO[3:7] domains require that their hardware power supply voltages
  *    must be consistent with the software configuration correspondingly
  *	a/ When the hardware IO level is connected to 1.8V, the software voltage configuration
  *	   should also be configured to 1.8V accordingly;
  *	b/ When the hardware IO level is connected to 3.3V, the software voltage configuration
  *	   should also be configured to 3.3V accordingly;
  * 3/ VCCIO2 voltage control selection (0xFDC20140)
  *	BIT[0]: 0x0: from GPIO_0A7 (default)
  *	BIT[0]: 0x1: from GRF
  *    Default is determined by Pin FLASH_VOL_SEL/GPIO0_A7:
  *	L:VCCIO2 must supply 3.3V
  *	H:VCCIO2 must supply 1.8V
  */
&pmu_io_domains {
	status = "okay";
	pmuio1-supply = <&vcc3v3_pmu>;
	pmuio2-supply = <&vcc3v3_pmu>;
	vccio1-supply = <&vccio_acodec>;
	vccio3-supply = <&vccio_sd>;
	vccio4-supply = <&vcc_3v3>;
	vccio5-supply = <&vcc_1v8>;
	vccio6-supply = <&vcc_1v8>;
	vccio7-supply = <&vcc_3v3>;
};

/* PWM4: LCD backlight. PWM5: joypad rumble motor. */
&pwm4 {
	status = "okay";
};

&pwm5 {
	status = "okay";
};

/* SARADC: used by joypad driver for analog stick data (ch0).
 * vref-supply sets the ADC reference voltage. */
&saradc {
	status = "okay";
	vref-supply = <&vcc_1v8>;
};

/* SD slot 0 (primary):
 * (miyoo355_fw_20250509213001): max 150 MHz, UHS-I SDR12/SDR25 only (no SDR50).
 * Slot 0 and slot 1 share vqmmc (vccio_sd); a single I/O voltage rail for both.
 * Use cards that match voltage: both 3.3V (e.g. high-speed or SDR12/SDR25) or both
 * 1.8V (UHS-I after switch). Mixing 3.3V and 1.8V cards in the two slots is unsafe. */
&sdmmc0 {
	max-frequency = <150000000>;
	no-sdio;
	no-mmc;
	bus-width = <4>;
	/* Avoid runtime PM / suspend losing slot state; shared vqmmc with sdmmc1 (see vccio_sd). */
	keep-power-in-suspend;
	cap-sd-highspeed;
	disable-wp;
	sd-uhs-sdr12;
	sd-uhs-sdr25;
	sd-uhs-sdr50;
	sd-uhs-sdr104;
	vmmc-supply = <&vcc_sd>;
	vqmmc-supply = <&vccio_sd>;
	pinctrl-names = "default";
	pinctrl-0 = <&sdmmc0_bus4 &sdmmc0_clk &sdmmc0_cmd &sdmmc0_det>;
	status = "okay";
};

/* SD slot 1 (secondary): 
 * (miyoo355_fw_20250509213001):max 150 MHz, no UHS modes (high-speed only). */
&sdmmc1 {
	max-frequency = <150000000>;
	no-sdio;
	no-mmc;
	bus-width = <4>;
	keep-power-in-suspend;
	cap-sd-highspeed;
	disable-wp;
	sd-uhs-sdr12;
	sd-uhs-sdr25;
	sd-uhs-sdr50;
	sd-uhs-sdr104;
	vmmc-supply = <&vcc_sd2>;
	vqmmc-supply = <&vccio_sd>;
	pinctrl-names = "default";
	pinctrl-0 = <&sdmmc1_bus4 &sdmmc1_clk &sdmmc1_cmd &sdmmc1_det>;
	status = "okay";
};

/* SFC: internal SPI NAND — only the preloader region is exported to Linux so userspace can restore the preloader.
 */
&sfc {
	status = "okay";
	#address-cells = <1>;
	#size-cells = <0>;

	flash@0 {
		compatible = "spi-nand";
		reg = <0>;
		spi-max-frequency = <24000000>;
		spi-rx-bus-width = <1>;
		spi-tx-bus-width = <1>;

		partitions {
			compatible = "fixed-partitions";
			#address-cells = <1>;
			#size-cells = <1>;

			partition@0 {
				label = "preloader";
				reg = <0x0 0x200000>;
			};

			/*
			partition@200000 {
				label = "vnvm";
				reg = <0x200000 0x100000>;
			};

			partition@300000 {
				label = "uboot";
				reg = <0x300000 0x400000>;
			};

			partition@700000 {
				label = "boot";
				reg = <0x700000 0x2600000>;
			};

			partition@2d00000 {
				label = "rootfs";
				reg = <0x2d00000 0x4000000>;
			};

			partition@6d00000 {
				label = "userdata";
				reg = <0x6d00000 0x1260000>;
			};
			*/
		};
	};
};

&tsadc {
	status = "okay";
	/* CRU mode (0): thermal shutdown resets via clock unit — no dedicated GPIO needed.
	 * GPIO mode (1) would require a board-specific thermal shutdown pin.
	 * Polarity 0 = active-low (matches Rockchip reference designs). */
	rockchip,hw-tshut-mode = <0>;
	rockchip,hw-tshut-polarity = <0>;
};

/* UART1: used by rocknix-singleadc-joypad Miyoo serial protocol.
 * The driver opens /dev/ttyS1 at 9600 8N1 for analog stick calibration.
 * Must remain enabled — disabling it causes Auto-cal read error: -5. */
&uart1 {
	status = "okay";
	dma-names = "tx", "rx";
	pinctrl-names = "default";
	pinctrl-0 = <&uart1m0_xfer &uart1m0_ctsn>;
};

/* UART2 (debug serial): must stay enabled for deep sleep resume to work.
 * For serial across suspend: no_console_suspend in cmdline + sleep-debug-en=1. */
&uart2 {
	status = "okay";
};

/* USB2 PHY0/1 controllers (enable the PHY blocks). */
&usb2phy0 {
	status = "okay";
};

&usb2phy1 {
	status = "okay";
};

/* USB2 PHY0 host: analog 3.3 V only; no external connector. */
&usb2phy0_host {
	phy-supply = <&vcc_3v3>;
	status = "okay";
};

/* USB2 PHY0 OTG: lower USB-C (charge / gadget). No VBUS supply. */
&usb2phy0_otg {
	status = "okay";
};

/* USB2 PHY1 host: WiFi (RTL8733BU) on this PHY.
 * EXPERIMENTAL: 3.3V supply. RTL8733BU is 3.3V-capable (OpenIPC RTL873xBU);
 * using vcc_3v3 avoids enabling the 5V boost for WiFi. Stock uses 5V.
 * Enable is still GPIO0_PA0 via rtl8733bu_power.
 * If WiFi/BT fail or are unstable, try uncommenting the 5V line below. */
&usb2phy1_host {
	/* phy-supply = <&vcc5v0_host>; */	/* stock: 5V */
	phy-supply = <&vcc_3v3>;		/* experimental: 3.3V */
	status = "okay";
};

/* USB2 PHY1 OTG: upper USB-C host. VBUS via vcc5v0_host (GPIO4_PC5). */
&usb2phy1_otg {
	phy-supply = <&vcc5v0_host>;
	status = "okay";
};

&usb_host0_ehci {
	status = "okay";
};

/* USB:
 *   fcc00000 usb_host0_xhci  lower USB-C charge/gadget (usb2phy0_otg)
 *   fd800000 usb_host0_ehci  upper USB-C host (usb2phy1_otg, VBUS vcc5v0_host)
 *   fd880000 usb_host1_ehci  WiFi RTL8733BU (usb2phy1_host)
 *   fd000000 usb_host1_xhci  unused (usb2phy0_host)
 *
 * Disabled: fd840000 / fd8c0000 OHCI companions.
 * usb_host1_xhci stays on usb2phy0_host so it does not share a PHY with WiFi. */

/* Lower USB-C: fixed peripheral/gadget side for the experimental Butterfly Link
 * USB transport. The upper/rear USB-C connector remains the host side. */
&usb_host0_xhci {
	status = "okay";
	dr_mode = "peripheral";
	extcon = <&usb2phy0>;
	phys = <&usb2phy0_otg>;
	phy-names = "usb2-phy";
};

/* Host DWC3: usb2phy0_host, USB2-only (no USB3 routing). */
&usb_host1_xhci {
	status = "okay";
	phys = <&usb2phy0_host>;
	phy-names = "usb2-phy";
	maximum-speed = "high-speed";
};

/* WiFi chip (RTL8733BU) is on this USB2 EHCI host via usb2phy1_host. */
&usb_host1_ehci {
	status = "okay";
};

/* VEPU (H.264 encoder): works but disabled — retro gaming doesn't encode video. */
&vepu {
	status = "disabled";
};

&vepu_mmu {
	status = "disabled";
};

/* VOP2: display controller. Must be enabled for DRM to bind.
 * Clock parents: DCLK_VOP0 -> HPLL, DCLK_VOP1 -> VPLL. */
&vop {
	status = "okay";
	assigned-clocks = <&cru DCLK_VOP0>, <&cru DCLK_VOP1>;
	assigned-clock-parents = <&pmucru PLL_HPLL>, <&cru PLL_VPLL>;
};

&vop_mmu {
	status = "okay";
};

/* NPU (Neural Processing Unit) at 0xfdab0000.
 * Mainline has no RK3566/RK3568 NPU driver (RKNPU2 is out-of-tree). For a handheld
 * it is rarely useful (retro gaming doesn’t need it; AI upscaling would need userspace
 * and an out-of-tree kernel). Define the node as disabled so the block is not enabled
 * by any overlay and power can be saved. If a kernel with rknpu2 is used, set status
 * to "okay" and add clocks/interrupts/power-domains per the driver binding. */
/ {
	npu: npu@fdab0000 {
		compatible = "rockchip,rk3568-rknpu";
		reg = <0x0 0xfdab0000 0x0 0x10000>;
		status = "disabled";
	};
};

/*
 * Unused-pin management: holds GPIOs with explicit pull-up/pull-down so they
 * don't float.  Not required for functionality — stock leaves many floating.
 *
 * IMPORTANT: Do NOT include unused_emmc_pins here while &sfc is enabled.
 * GPIO1 B4–D4 (and neighbours in that group) are the FSPI / SFC NAND pins
 * (same ball group as unused eMMC).  Hogging them as GPIO causes:
 *   rockchip-sfc fe300000.spi: Error applying setting, reverse things back
 * and no MTD devices.  unused_emmc_pins is kept below for reference if SFC
 * is ever disabled again.
 */

/ {
	unused_pins_holder: unused-pins-holder {
		compatible = "simple-bus";
		#address-cells = <1>;
		#size-cells = <0>;
		pinctrl-names = "default";
		pinctrl-0 = <&unused_gpio0_pins &unused_gpio0_d_pins
			    &unused_gpio1_a01_pins &unused_gpio2_pins &unused_gpio2_c7d_pins
			    &unused_gpio3_pins &unused_gpio4_pins &unused_gpio4_d2_pins
			    &unused_i2s1_pins>;
		status = "okay";
	};
};

&pinctrl {
	unused-pins {
		/* GPIO1 B4–D4: eMMC/Flash. Pad _u → pull_up; C5,C6,C7,D0 _d → pull_down. */
		unused_emmc_pins: unused-emmc-pins {
			rockchip,pins =
				<1 RK_PB4 RK_FUNC_GPIO &pcfg_pull_up>,
				<1 RK_PB5 RK_FUNC_GPIO &pcfg_pull_up>,
				<1 RK_PB6 RK_FUNC_GPIO &pcfg_pull_up>,
				<1 RK_PB7 RK_FUNC_GPIO &pcfg_pull_up>,
				<1 RK_PC0 RK_FUNC_GPIO &pcfg_pull_up>,
				<1 RK_PC1 RK_FUNC_GPIO &pcfg_pull_up>,
				<1 RK_PC2 RK_FUNC_GPIO &pcfg_pull_up>,
				<1 RK_PC3 RK_FUNC_GPIO &pcfg_pull_up>,
				<1 RK_PC4 RK_FUNC_GPIO &pcfg_pull_up>,
				<1 RK_PC5 RK_FUNC_GPIO &pcfg_pull_down>,
				<1 RK_PC6 RK_FUNC_GPIO &pcfg_pull_down>,
				<1 RK_PC7 RK_FUNC_GPIO &pcfg_pull_down>,
				<1 RK_PD0 RK_FUNC_GPIO &pcfg_pull_down>,
				<1 RK_PD1 RK_FUNC_GPIO &pcfg_pull_up>,
				<1 RK_PD2 RK_FUNC_GPIO &pcfg_pull_up>,
				<1 RK_PD3 RK_FUNC_GPIO &pcfg_pull_up>,
				<1 RK_PD4 RK_FUNC_GPIO &pcfg_pull_up>;
		};
		/* GPIO0 unclaimed PMU pins. Pad _u → pull_up, _d → pull_down. */
		unused_gpio0_pins: unused-gpio0-pins {
			rockchip,pins =
				<0 RK_PA6 RK_FUNC_GPIO &pcfg_pull_down>,
				<0 RK_PA7 RK_FUNC_GPIO &pcfg_pull_up>,
				<0 RK_PB0 RK_FUNC_GPIO &pcfg_pull_up>,
				<0 RK_PB3 RK_FUNC_GPIO &pcfg_pull_up>,
				<0 RK_PB5 RK_FUNC_GPIO &pcfg_pull_up>,
				<0 RK_PB6 RK_FUNC_GPIO &pcfg_pull_up>,
				<0 RK_PB7 RK_FUNC_GPIO &pcfg_pull_down>,
				<0 RK_PC0 RK_FUNC_GPIO &pcfg_pull_down>,
				<0 RK_PC1 RK_FUNC_GPIO &pcfg_pull_down>,
				<0 RK_PC5 RK_FUNC_GPIO &pcfg_pull_down>;
		};
		/* GPIO2 unclaimed: B5 _u → pull_up; B7,C2–C6 _d → pull_down. B6 excluded: UART1_CTSn (Miyoo serial). */
		unused_gpio2_pins: unused-gpio2-pins {
			rockchip,pins =
				<2 RK_PB5 RK_FUNC_GPIO &pcfg_pull_up>,
				<2 RK_PB7 RK_FUNC_GPIO &pcfg_pull_down>,
				<2 RK_PC2 RK_FUNC_GPIO &pcfg_pull_down>,
				<2 RK_PC3 RK_FUNC_GPIO &pcfg_pull_down>,
				<2 RK_PC4 RK_FUNC_GPIO &pcfg_pull_down>,
				<2 RK_PC5 RK_FUNC_GPIO &pcfg_pull_down>,
				<2 RK_PC6 RK_FUNC_GPIO &pcfg_pull_down>;
		};
		/* GPIO3 unclaimed: A0,A2,B7,C4–D7 all _d → pull_down. */
		unused_gpio3_pins: unused-gpio3-pins {
			rockchip,pins =
				<3 RK_PA0 RK_FUNC_GPIO &pcfg_pull_down>,
				<3 RK_PA2 RK_FUNC_GPIO &pcfg_pull_down>,
				<3 RK_PB7 RK_FUNC_GPIO &pcfg_pull_down>,
				<3 RK_PC4 RK_FUNC_GPIO &pcfg_pull_down>,
				<3 RK_PC5 RK_FUNC_GPIO &pcfg_pull_down>,
				<3 RK_PC6 RK_FUNC_GPIO &pcfg_pull_down>,
				<3 RK_PC7 RK_FUNC_GPIO &pcfg_pull_down>,
				<3 RK_PD0 RK_FUNC_GPIO &pcfg_pull_down>,
				<3 RK_PD1 RK_FUNC_GPIO &pcfg_pull_down>,
				<3 RK_PD2 RK_FUNC_GPIO &pcfg_pull_down>,
				<3 RK_PD3 RK_FUNC_GPIO &pcfg_pull_down>,
				<3 RK_PD4 RK_FUNC_GPIO &pcfg_pull_down>,
				<3 RK_PD5 RK_FUNC_GPIO &pcfg_pull_down>,
				<3 RK_PD6 RK_FUNC_GPIO &pcfg_pull_down>,
				<3 RK_PD7 RK_FUNC_GPIO &pcfg_pull_down>;
		};
		/* GPIO4 unclaimed: A1–C1, C3, C4 all _d → pull_down. */
		unused_gpio4_pins: unused-gpio4-pins {
			rockchip,pins =
				<4 RK_PA1 RK_FUNC_GPIO &pcfg_pull_down>,
				<4 RK_PA2 RK_FUNC_GPIO &pcfg_pull_down>,
				<4 RK_PA3 RK_FUNC_GPIO &pcfg_pull_down>,
				<4 RK_PA4 RK_FUNC_GPIO &pcfg_pull_down>,
				<4 RK_PA5 RK_FUNC_GPIO &pcfg_pull_down>,
				<4 RK_PA6 RK_FUNC_GPIO &pcfg_pull_down>,
				<4 RK_PA7 RK_FUNC_GPIO &pcfg_pull_down>,
				<4 RK_PB0 RK_FUNC_GPIO &pcfg_pull_down>,
				<4 RK_PB1 RK_FUNC_GPIO &pcfg_pull_down>,
				<4 RK_PB2 RK_FUNC_GPIO &pcfg_pull_down>,
				<4 RK_PB3 RK_FUNC_GPIO &pcfg_pull_down>,
				<4 RK_PB4 RK_FUNC_GPIO &pcfg_pull_down>,
				<4 RK_PB5 RK_FUNC_GPIO &pcfg_pull_down>,
				<4 RK_PB6 RK_FUNC_GPIO &pcfg_pull_down>,
				<4 RK_PB7 RK_FUNC_GPIO &pcfg_pull_down>,
				<4 RK_PC0 RK_FUNC_GPIO &pcfg_pull_down>,
				<4 RK_PC1 RK_FUNC_GPIO &pcfg_pull_down>,
				<4 RK_PC3 RK_FUNC_GPIO &pcfg_pull_down>,
				<4 RK_PC4 RK_FUNC_GPIO &pcfg_pull_down>;
		};
		/* I2S1 unused: A4,A6,B0,B1,B2 _d → pull_down. */
		unused_i2s1_pins: unused-i2s1-pins {
			rockchip,pins =
				<1 RK_PA4 RK_FUNC_GPIO &pcfg_pull_down>,
				<1 RK_PA6 RK_FUNC_GPIO &pcfg_pull_down>,
				<1 RK_PB0 RK_FUNC_GPIO &pcfg_pull_down>,
				<1 RK_PB1 RK_FUNC_GPIO &pcfg_pull_down>,
				<1 RK_PB2 RK_FUNC_GPIO &pcfg_pull_down>;
		};
		/* GPIO0 D2–D7: D0/D1 excluded (uart2, needed for deep sleep resume). */
		unused_gpio0_d_pins: unused-gpio0-d-pins {
			rockchip,pins =
				<0 RK_PD2 RK_FUNC_GPIO &pcfg_pull_down>,
				<0 RK_PD3 RK_FUNC_GPIO &pcfg_pull_down>,
				<0 RK_PD4 RK_FUNC_GPIO &pcfg_pull_down>,
				<0 RK_PD5 RK_FUNC_GPIO &pcfg_pull_down>,
				<0 RK_PD6 RK_FUNC_GPIO &pcfg_pull_down>,
				<0 RK_PD7 RK_FUNC_GPIO &pcfg_pull_down>;
		};
		unused_gpio1_a01_pins: unused-gpio1-a01-pins {
			rockchip,pins =
				<1 RK_PA0 RK_FUNC_GPIO &pcfg_pull_up>,
				<1 RK_PA1 RK_FUNC_GPIO &pcfg_pull_up>;
		};
		unused_gpio2_c7d_pins: unused-gpio2-c7d-pins {
			rockchip,pins =
				<2 RK_PC7 RK_FUNC_GPIO &pcfg_pull_down>,
				<2 RK_PD0 RK_FUNC_GPIO &pcfg_pull_down>,
				<2 RK_PD1 RK_FUNC_GPIO &pcfg_pull_down>,
				<2 RK_PD2 RK_FUNC_GPIO &pcfg_pull_down>,
				<2 RK_PD3 RK_FUNC_GPIO &pcfg_pull_down>,
				<2 RK_PD4 RK_FUNC_GPIO &pcfg_pull_down>,
				<2 RK_PD5 RK_FUNC_GPIO &pcfg_pull_down>,
				<2 RK_PD6 RK_FUNC_GPIO &pcfg_pull_down>,
				<2 RK_PD7 RK_FUNC_GPIO &pcfg_pull_down>;
		};
		unused_gpio4_d2_pins: unused-gpio4-d2-pins {
			rockchip,pins =
				<4 RK_PD2 RK_FUNC_GPIO &pcfg_pull_down>,
				<4 RK_PD3 RK_FUNC_GPIO &pcfg_pull_down>,
				<4 RK_PD4 RK_FUNC_GPIO &pcfg_pull_down>,
				<4 RK_PD5 RK_FUNC_GPIO &pcfg_pull_down>,
				<4 RK_PD6 RK_FUNC_GPIO &pcfg_pull_down>,
				<4 RK_PD7 RK_FUNC_GPIO &pcfg_pull_down>;
		};
	};
};
